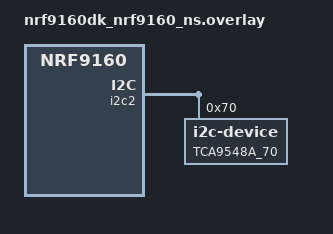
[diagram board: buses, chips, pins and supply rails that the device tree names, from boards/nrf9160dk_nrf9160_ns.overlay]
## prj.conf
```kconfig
CONFIG_STDOUT_CONSOLE=y
CONFIG_I2C=y
CONFIG_SENSOR=y

# Log
CONFIG_LOG=y
CONFIG_LOG_PRINTK=y
CONFIG_PRINTK=y
CONFIG_LOG_MODE_IMMEDIATE=y
CONFIG_PWM_LOG_LEVEL_DBG=y

CONFIG_RTT_CONSOLE=y
CONFIG_USE_SEGGER_RTT=y
CONFIG_UART_CONSOLE=n
CONFIG_LOG_BACKEND_RTT=y

CONFIG_CBPRINTF_FP_SUPPORT=y
```

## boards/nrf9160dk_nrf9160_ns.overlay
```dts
/*
 * Copyright (c) 2020, Nordic Semiconductor ASA
 *
 * SPDX-License-Identifier: Apache-2.0
 */

&i2c2 {
	compatible = "nordic,nrf-twim";
	status = "okay";
	pinctrl-0 = <&i2c2_default>;
	pinctrl-1 = <&i2c2_sleep>;
	pinctrl-names = "default", "sleep";
	tca9548a_70: tca9548a@70 {
		compatible = "i2c-device";
		status = "okay";
		reg = <0x70>;
		label = "TCA9548A_70";
	};
};
```

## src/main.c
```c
/*
 * Copyright (c) 2018 Bosch Sensortec GmbH
 *
 * SPDX-License-Identifier: Apache-2.0
 */

#include <zephyr/kernel.h>
#include <zephyr/device.h>
#include <zephyr/drivers/sensor.h>
#include <stdio.h>
#include <zephyr/drivers/i2c.h>
#include <zephyr/devicetree.h>
#include "vl6180_registers.h"
#include <zephyr/sys/printk.h>

static const struct i2c_dt_spec	tca9548a	= I2C_DT_SPEC_GET( DT_NODELABEL( tca9548a_70 ) );

int check_i2c_device( const struct i2c_dt_spec* dev)
{
	if (i2c_is_ready_dt( dev )){
		printk("%02X I2C is ready\n", dev->addr);

		return 0;
	}
	else{
		printk("%02X I2C is failed\n", dev->addr);

		return -EFAULT;
	}
}

int tca9548a_set_channel(const struct i2c_dt_spec *spec, uint8_t channel)
{
	uint8_t tx_buf = (1 << channel);

	return i2c_write(spec->bus, &tx_buf, 1, spec->addr);
}

uint8_t vl6180_read8(const struct i2c_dt_spec* dev, uint16_t reg_addr)
{
	uint8_t buf[2];
	buf[0] = (reg_addr >> 8) & 0xff;
	buf[1] = (reg_addr & 0xff);
	i2c_write_read(dev->bus, VL6180X_DEFAULT_I2C_ADDR, buf, 2, buf, 1);

	return buf[0];
}

uint16_t vl6180_read16(const struct i2c_dt_spec* dev, uint16_t reg_addr)
{
	uint8_t buf[2];
	uint16_t ret;
	buf[0] = (reg_addr >> 8) & 0xff;
	buf[1] = (reg_addr & 0xff);
	i2c_write_read(dev->bus, VL6180X_DEFAULT_I2C_ADDR, buf, 2, buf, 2);

	ret = buf[0];
	ret = (ret << 8) + buf[1];
	return ret;
}

int vl6180_write8(const struct i2c_dt_spec* dev, uint16_t reg_addr, uint8_t dat)
{
	uint8_t buf[3];
	buf[0] = (reg_addr >> 8) & 0xff;
	buf[1] = reg_addr & 0xff;
	buf[2] = dat;
	return i2c_write(dev->bus, buf, 3, VL6180X_DEFAULT_I2C_ADDR );
}

int vl6180_write16(const struct i2c_dt_spec* dev, uint16_t reg_addr, uint16_t dat)
{
	uint8_t buf[4];
	buf[0] = (reg_addr >> 8) & 0xff;
	buf[1] = reg_addr & 0xff;
	buf[2] = (dat >> 8) & 0xff;
	buf[3] = dat & 0xff;

	return i2c_write(dev->bus, buf, 4, VL6180X_DEFAULT_I2C_ADDR );
}

int loadSettings(const struct i2c_dt_spec* dev)
{
	// load settings!

  // private settings from page 24 of app note
  vl6180_write8(dev, 0x0207, 0x01);
  vl6180_write8(dev, 0x0208, 0x01);
  vl6180_write8(dev, 0x0096, 0x00);
  vl6180_write8(dev, 0x0097, 0xfd);
  vl6180_write8(dev, 0x00e3, 0x00);
  vl6180_write8(dev, 0x00e4, 0x04);
  vl6180_write8(dev, 0x00e5, 0x02);
  vl6180_write8(dev, 0x00e6, 0x01);
  vl6180_write8(dev, 0x00e7, 0x03);
  vl6180_write8(dev, 0x00f5, 0x02);
  vl6180_write8(dev, 0x00d9, 0x05);
  vl6180_write8(dev, 0x00db, 0xce);
  vl6180_write8(dev, 0x00dc, 0x03);
  vl6180_write8(dev, 0x00dd, 0xf8);
  vl6180_write8(dev, 0x009f, 0x00);
  vl6180_write8(dev, 0x00a3, 0x3c);
  vl6180_write8(dev, 0x00b7, 0x00);
  vl6180_write8(dev, 0x00bb, 0x3c);
  vl6180_write8(dev, 0x00b2, 0x09);
  vl6180_write8(dev, 0x00ca, 0x09);
  vl6180_write8(dev, 0x0198, 0x01);
  vl6180_write8(dev, 0x01b0, 0x17);
  vl6180_write8(dev, 0x01ad, 0x00);
  vl6180_write8(dev, 0x00ff, 0x05);
  vl6180_write8(dev, 0x0100, 0x05);
  vl6180_write8(dev, 0x0199, 0x05);
  vl6180_write8(dev, 0x01a6, 0x1b);
  vl6180_write8(dev, 0x01ac, 0x3e);
  vl6180_write8(dev, 0x01a7, 0x1f);
  vl6180_write8(dev, 0x0030, 0x00);

  // Recommended : Public registers - See data sheet for more detail
  vl6180_write8(dev, 0x0011, 0x10); // Enables polling for 'New Sample ready'
                        // when measurement completes
  vl6180_write8(dev, 0x010a, 0x30); // Set the averaging sample period
                        // (compromise between lower noise and
                        // increased execution time)
  vl6180_write8(dev, 0x003f, 0x46); // Sets the light and dark gain (upper
                        // nibble). Dark gain should not be
                        // changed.
  vl6180_write8(dev, 0x0031, 0xFF); // sets the # of range measurements after
                        // which auto calibration of system is
                        // performed
  vl6180_write8(dev, 0x0041, 0x63); // Set ALS integration time to 100ms
  vl6180_write8(dev, 0x002e, 0x01); // perform a single temperature calibration
                        // of the ranging sensor

  // Optional: Public registers - See data sheet for more detail
  vl6180_write8(dev, SYSRANGE__INTERMEASUREMENT_PERIOD,
         0x09);         // Set default ranging inter-measurement
                        // period to 100ms
  vl6180_write8(dev, 0x003e, 0x31); // Set default ALS inter-measurement period
                        // to 500ms
  vl6180_write8(dev, 0x0014, 0x24); // Configures interrupt on 'New Sample
                        // Ready threshold event'
}

float vl6180_readLux(const struct i2c_dt_spec* dev, uint8_t gain) {
  uint8_t reg;

  reg = vl6180_read8(dev, VL6180X_REG_SYSTEM_INTERRUPT_CONFIG);
  reg &= ~0x38;
  reg |= (0x4 << 3); // IRQ on ALS ready
  vl6180_write8(dev, VL6180X_REG_SYSTEM_INTERRUPT_CONFIG, reg);

  // 100 ms integration period
  vl6180_write8(dev, VL6180X_REG_SYSALS_INTEGRATION_PERIOD_HI, 0);
  vl6180_write8(dev, VL6180X_REG_SYSALS_INTEGRATION_PERIOD_LO, 100);

  // analog gain
  if (gain > VL6180X_ALS_GAIN_40) {
    gain = VL6180X_ALS_GAIN_40;
  }
  vl6180_write8(dev, VL6180X_REG_SYSALS_ANALOGUE_GAIN, 0x40 | gain);

  // start ALS
  vl6180_write8(dev, VL6180X_REG_SYSALS_START, 0x1);

  // Poll until "New Sample Ready threshold event" is set
  while (4 != ((vl6180_read8(dev, VL6180X_REG_RESULT_INTERRUPT_STATUS_GPIO) >> 3) & 0x7))
    ;

  // read lux!
  float lux = vl6180_read16(dev, VL6180X_REG_RESULT_ALS_VAL);

  // clear interrupt
  vl6180_write8(dev, VL6180X_REG_SYSTEM_INTERRUPT_CLEAR, 0x07);

  lux *= 0.32; // calibrated count/lux
  switch (gain) {
  case VL6180X_ALS_GAIN_1:
    break;
  case VL6180X_ALS_GAIN_1_25:
    lux /= 1.25;
    break;
  case VL6180X_ALS_GAIN_1_67:
    lux /= 1.67;
    break;
  case VL6180X_ALS_GAIN_2_5:
    lux /= 2.5;
    break;
  case VL6180X_ALS_GAIN_5:
    lux /= 5;
    break;
  case VL6180X_ALS_GAIN_10:
    lux /= 10;
    break;
  case VL6180X_ALS_GAIN_20:
    lux /= 20;
    break;
  case VL6180X_ALS_GAIN_40:
    lux /= 40;
    break;
  }
  lux *= 100;
  lux /= 100; // integration time in ms

  return lux;
}

uint8_t vl6180_readRange(const struct i2c_dt_spec* dev) {
  // wait for device to be ready for range measurement
  while (!(vl6180_read8(dev, VL6180X_REG_RESULT_RANGE_STATUS) & 0x01))
    ;

  // Start a range measurement
  vl6180_write8(dev, VL6180X_REG_SYSRANGE_START, 0x01);

  // Poll until bit 2 is set
  while (!(vl6180_read8(dev, VL6180X_REG_RESULT_INTERRUPT_STATUS_GPIO) & 0x04))
    ;

  // read range in mm
  uint8_t range = vl6180_read8(dev, VL6180X_REG_RESULT_RANGE_VAL);

  // clear interrupt
  vl6180_write8(dev, VL6180X_REG_SYSTEM_INTERRUPT_CLEAR, 0x07);

  return range;
}

int main(void)
{	
	uint8_t ch = 0x00;
	uint8_t channel_mask = 0x00;
	float lux= 0.0;
	uint8_t range = 0;

	check_i2c_device(&tca9548a);

	channel_mask = 0x00;

	for (ch=0; ch<8; ch++){
		if(tca9548a_set_channel(&tca9548a, ch) == 0){
			printk("Channel %d is set\n", ch);
			
			if (vl6180_read8(&tca9548a, VL6180X_REG_IDENTIFICATION_MODEL_ID) != 0xB4){
				printk("Vl6180 sensor is failed in Channel %d\n", ch);
			}
			else{
				if(vl6180_read8(&tca9548a, VL6180X_REG_SYSTEM_FRESH_OUT_OF_RESET) & 0x01){
					loadSettings(&tca9548a);
		 			vl6180_write8( &tca9548a, VL6180X_REG_SYSTEM_FRESH_OUT_OF_RESET, 0x00);
				}

        channel_mask |= (1 << ch);
				printk("Vl6180 sensor in Channel %d was initiated successfully\n", ch);
			}

		}
		else{
			printk("Channel %d is failed\n", ch);
		}
	}
	
	while (1) {
		k_sleep(K_MSEC(1000));
		for (ch=0; ch<8; ch++){
			if(channel_mask & (1 << ch)){
        tca9548a_set_channel(&tca9548a, ch);
				lux = vl6180_readLux(&tca9548a, VL6180X_ALS_GAIN_5);
				range = vl6180_readRange(&tca9548a);
				printk("Data in Channel %d: [lux:] %f, [range:] %d\n", ch, lux, range);
			}
		}
		
	}
	return 0;
}
```

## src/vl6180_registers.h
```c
#ifndef VL6180_REGISTERS_H_
#define VL6180_REGISTERS_H_

#define SYSRANGE__INTERMEASUREMENT_PERIOD 0x001b // P19 application notes

#define VL6180X_DEFAULT_I2C_ADDR 0x29 ///< The fixed I2C addres

///! Device model identification number
#define VL6180X_REG_IDENTIFICATION_MODEL_ID 0x000
///! Interrupt configuration
#define VL6180X_REG_SYSTEM_INTERRUPT_CONFIG 0x014
///! Interrupt clear bits
#define VL6180X_REG_SYSTEM_INTERRUPT_CLEAR 0x015
///! Fresh out of reset bit
#define VL6180X_REG_SYSTEM_FRESH_OUT_OF_RESET 0x016
///! Trigger Ranging
#define VL6180X_REG_SYSRANGE_START 0x018
///! Part to part range offset
#define VL6180X_REG_SYSRANGE_PART_TO_PART_RANGE_OFFSET 0x024
///! Trigger Lux Reading
#define VL6180X_REG_SYSALS_START 0x038
///! Lux reading gain
#define VL6180X_REG_SYSALS_ANALOGUE_GAIN 0x03F
///! Integration period for ALS mode, high byte
#define VL6180X_REG_SYSALS_INTEGRATION_PERIOD_HI 0x040
///! Integration period for ALS mode, low byte
#define VL6180X_REG_SYSALS_INTEGRATION_PERIOD_LO 0x041
///! Specific error codes
#define VL6180X_REG_RESULT_RANGE_STATUS 0x04d
///! Interrupt status
#define VL6180X_REG_RESULT_INTERRUPT_STATUS_GPIO 0x04f
///! Light reading value
#define VL6180X_REG_RESULT_ALS_VAL 0x050
///! Ranging reading value
#define VL6180X_REG_RESULT_RANGE_VAL 0x062
///! I2C Slave Device Address
#define VL6180X_REG_SLAVE_DEVICE_ADDRESS 0x212

#define VL6180X_ALS_GAIN_1 0x06    ///< 1x gain
#define VL6180X_ALS_GAIN_1_25 0x05 ///< 1.25x gain
#define VL6180X_ALS_GAIN_1_67 0x04 ///< 1.67x gain
#define VL6180X_ALS_GAIN_2_5 0x03  ///< 2.5x gain
#define VL6180X_ALS_GAIN_5 0x02    ///< 5x gain
#define VL6180X_ALS_GAIN_10 0x01   ///< 10x gain
#define VL6180X_ALS_GAIN_20 0x00   ///< 20x gain
#define VL6180X_ALS_GAIN_40 0x07   ///< 40x gain

#define VL6180X_ERROR_NONE 0        ///< Success!
#define VL6180X_ERROR_SYSERR_1 1    ///< System error
#define VL6180X_ERROR_SYSERR_5 5    ///< Sysem error
#define VL6180X_ERROR_ECEFAIL 6     ///< Early convergence estimate fail
#define VL6180X_ERROR_NOCONVERGE 7  ///< No target detected
#define VL6180X_ERROR_RANGEIGNORE 8 ///< Ignore threshold check failed
#define VL6180X_ERROR_SNR 11        ///< Ambient conditions too high
#define VL6180X_ERROR_RAWUFLOW 12   ///< Raw range algo underflow
#define VL6180X_ERROR_RAWOFLOW 13   ///< Raw range algo overflow
#define VL6180X_ERROR_RANGEUFLOW 14 ///< Raw range algo underflow
#define VL6180X_ERROR_RANGEOFLOW 15 ///< Raw range algo overflow

#endif
```
